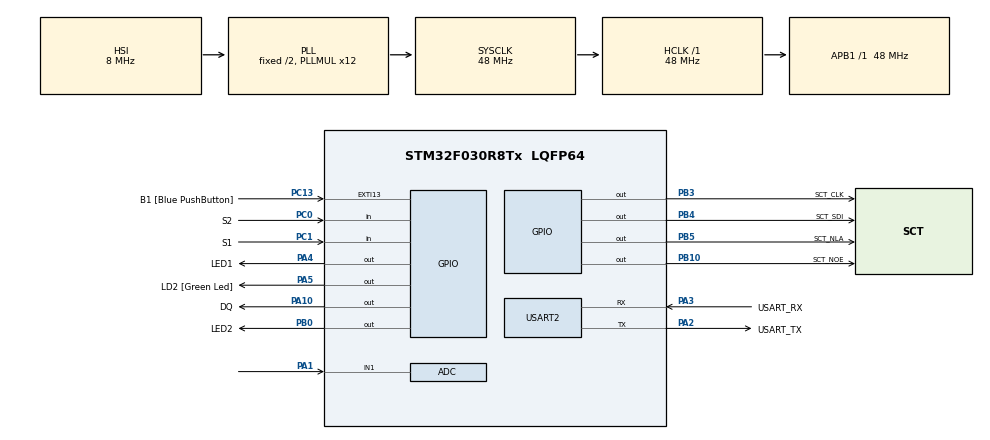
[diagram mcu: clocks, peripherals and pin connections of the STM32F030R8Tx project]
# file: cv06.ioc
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ADC.ContinuousConvMode=ENABLE
ADC.Overrun=ADC_OVR_DATA_OVERWRITTEN
ADC.Resolution=ADC_RESOLUTION_10B
ADC.SamplingTime=ADC_SAMPLETIME_239CYCLES_5
Mcu.Family=STM32F0
Mcu.Name=STM32F030R8Tx
Mcu.Package=LQFP64
PA1.Mode=IN1
PA1.Signal=ADC_IN1
PA10.GPIO_Label=DQ
PA10.GPIO_ModeDefaultOutputPP=GPIO_MODE_OUTPUT_OD
PA10.PinState=GPIO_PIN_SET
PA10.Signal=GPIO_Output
PA13.GPIO_Label=TMS
PA13.Mode=Serial_Wire
PA13.Signal=SYS_SWDIO
PA14.GPIO_Label=TCK
PA14.Mode=Serial_Wire
PA14.Signal=SYS_SWCLK
PA2.GPIO_Label=USART_TX
PA2.GPIO_Mode=GPIO_MODE_AF_PP
PA2.GPIO_PuPd=GPIO_NOPULL
PA2.GPIO_Speed=GPIO_SPEED_FREQ_LOW
PA2.Mode=Asynchronous
PA2.Signal=USART2_TX
PA3.GPIO_Label=USART_RX
PA3.GPIO_Mode=GPIO_MODE_AF_PP
PA3.GPIO_PuPd=GPIO_NOPULL
PA3.GPIO_Speed=GPIO_SPEED_FREQ_LOW
PA3.Mode=Asynchronous
PA3.Signal=USART2_RX
PA4.GPIO_Label=LED1
PA4.Signal=GPIO_Output
PA5.GPIO_Label=LD2 [Green Led]
PA5.GPIO_Mode=GPIO_MODE_OUTPUT_PP
PA5.GPIO_PuPd=GPIO_NOPULL
PA5.GPIO_Speed=GPIO_SPEED_FREQ_LOW
PA5.Signal=GPIO_Output
PB0.GPIO_Label=LED2
PB0.Signal=GPIO_Output
PB10.GPIO_Label=SCT_NOE
PB10.Signal=GPIO_Output
PB3.GPIO_Label=SCT_CLK
PB3.Signal=GPIO_Output
PB4.GPIO_Label=SCT_SDI
PB4.Signal=GPIO_Output
PB5.GPIO_Label=SCT_NLA
PB5.Signal=GPIO_Output
PC0.GPIO_Label=S2
PC0.Signal=GPIO_Input
PC1.GPIO_Label=S1
PC1.Signal=GPIO_Input
PC13.GPIO_Label=B1 [Blue PushButton]
PC13.GPIO_ModeDefaultEXTI=GPIO_MODE_IT_FALLING
PC13.Signal=GPXTI13
PC14-OSC32_IN.Mode=LSE-External-Oscillator
PC14-OSC32_IN.Signal=RCC_OSC32_IN
PC15-OSC32_OUT.Mode=LSE-External-Oscillator
PC15-OSC32_OUT.Signal=RCC_OSC32_OUT
PF0-OSC_IN.Mode=HSE-External-Clock-Source
PF0-OSC_IN.Signal=RCC_OSC_IN
PF1-OSC_OUT.Signal=RCC_OSC_OUT
ProjectManager.HeapSize=0x200
ProjectManager.StackSize=0x400
ProjectManager.TargetToolchain=STM32CubeIDE
RCC.AHBFreq_Value=48000000
RCC.APB1Freq_Value=48000000
RCC.APB1TimFreq_Value=48000000
RCC.HCLKFreq_Value=48000000
RCC.PLLMUL=RCC_PLL_MUL12
RCC.SYSCLKFreq_VALUE=48000000
RCC.SYSCLKSource=RCC_SYSCLKSOURCE_PLLCLK
USART2.VirtualMode-Asynchronous=VM_ASYNC
board=NUCLEO-F030R8

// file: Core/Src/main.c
/* USER CODE BEGIN Header */
/**
  ******************************************************************************
  * @file           : main.c
  * @brief          : Main program body
  ******************************************************************************
  * @attention
  *
  * <h2><center>&copy; Copyright (c) 2020 STMicroelectronics.
  * All rights reserved.</center></h2>
  *
  * This software component is licensed by ST under BSD 3-Clause license,
  * the "License"; You may not use this file except in compliance with the
  * License. You may obtain a copy of the License at:
  *                        opensource.org/licenses/BSD-3-Clause
  *
  ******************************************************************************
  */
/* USER CODE END Header */
#include "main.h"

/* USER CODE BEGIN Includes */
#include "sct.h"
#include "1wire.h"
/* USER CODE END Includes */

/* USER CODE BEGIN PD */
#define ACT_DELAY 750
#define READ_BUTTONS 40
/* USER CODE END PD */

ADC_HandleTypeDef hadc;

UART_HandleTypeDef huart2;

/* USER CODE BEGIN PV */
int16_t temp_ds;
static const int16_t ntc_lookup[] = { 1689, 1669, 1649, 1630, 1611, 1593, 1575,
		1557, 1540, 1523, 1507, 1491, 1475, 1459, 1444, 1429, 1415, 1401, 1387,
		1373, 1360, 1347, 1334, 1321, 1309, 1297, 1285, 1274, 1262, 1251, 1240,
		1230, 1219, 1209, 1199, 1189, 1180, 1170, 1161, 1152, 1143, 1135, 1126,
		1118, 1110, 1102, 1094, 1086, 1078, 1071, 1064, 1057, 1050, 1043, 1036,
		1030, 1023, 1017, 1010, 1004, 998, 992, 987, 981, 975, 970, 964, 959,
		954, 949, 944, 939, 934, 929, 924, 920, 915, 911, 906, 902, 898, 894,
		889, 885, 881, 877, 873, 869, 866, 862, 858, 855, 851, 847, 844, 840,
		837, 834, 830, 827, 824, 820, 817, 814, 811, 808, 805, 802, 799, 796,
		793, 790, 787, 784, 782, 779, 776, 773, 771, 768, 765, 763, 760, 757,
		755, 752, 750, 747, 745, 742, 740, 737, 735, 733, 730, 728, 726, 723,
		721, 719, 716, 714, 712, 709, 707, 705, 703, 701, 698, 696, 694, 692,
		690, 688, 685, 683, 681, 679, 677, 675, 673, 671, 669, 667, 665, 663,
		661, 659, 657, 655, 653, 651, 649, 647, 645, 643, 641, 639, 637, 635,
		634, 632, 630, 628, 626, 624, 622, 621, 619, 617, 615, 613, 612, 610,
		608, 606, 604, 603, 601, 599, 597, 596, 594, 592, 591, 589, 587, 585,
		584, 582, 580, 579, 577, 576, 574, 572, 571, 569, 567, 566, 564, 563,
		561, 559, 558, 556, 555, 553, 552, 550, 549, 547, 546, 544, 543, 541,
		540, 538, 537, 535, 534, 532, 531, 529, 528, 526, 525, 524, 522, 521,
		519, 518, 517, 515, 514, 513, 511, 510, 508, 507, 506, 504, 503, 502,
		500, 499, 498, 497, 495, 494, 493, 491, 490, 489, 488, 486, 485, 484,
		483, 481, 480, 479, 478, 476, 475, 474, 473, 472, 470, 469, 468, 467,
		466, 464, 463, 462, 461, 460, 459, 457, 456, 455, 454, 453, 452, 451,
		449, 448, 447, 446, 445, 444, 443, 442, 441, 439, 438, 437, 436, 435,
		434, 433, 432, 431, 430, 429, 428, 427, 425, 424, 423, 422, 421, 420,
		419, 418, 417, 416, 415, 414, 413, 412, 411, 410, 409, 408, 407, 406,
		405, 404, 403, 402, 401, 400, 399, 398, 397, 396, 395, 394, 393, 392,
		391, 390, 389, 388, 387, 386, 385, 384, 383, 382, 381, 380, 379, 378,
		377, 376, 375, 374, 373, 372, 371, 370, 369, 368, 367, 366, 365, 364,
		363, 362, 361, 360, 359, 358, 357, 356, 355, 354, 353, 352, 351, 350,
		349, 348, 347, 346, 346, 345, 344, 343, 342, 341, 340, 339, 338, 337,
		336, 335, 334, 333, 332, 331, 330, 329, 328, 327, 326, 325, 324, 323,
		322, 321, 321, 320, 319, 318, 317, 316, 315, 314, 313, 312, 311, 310,
		309, 308, 307, 306, 305, 304, 303, 302, 302, 301, 300, 299, 298, 297,
		296, 295, 294, 293, 292, 291, 290, 289, 288, 287, 286, 286, 285, 284,
		283, 282, 281, 280, 279, 278, 277, 276, 275, 274, 274, 273, 272, 271,
		270, 269, 268, 267, 266, 265, 264, 263, 263, 262, 261, 260, 259, 258,
		257, 256, 255, 254, 254, 253, 252, 251, 250, 249, 248, 247, 246, 246,
		245, 244, 243, 242, 241, 240, 239, 238, 238, 237, 236, 235, 234, 233,
		232, 232, 231, 230, 229, 228, 227, 226, 225, 225, 224, 223, 222, 221,
		220, 219, 219, 218, 217, 216, 215, 214, 214, 213, 212, 211, 210, 209,
		208, 208, 207, 206, 205, 204, 203, 203, 202, 201, 200, 199, 198, 198,
		197, 196, 195, 194, 194, 193, 192, 191, 190, 189, 189, 188, 187, 186,
		185, 184, 184, 183, 182, 181, 180, 180, 179, 178, 177, 176, 175, 175,
		174, 173, 172, 171, 171, 170, 169, 168, 167, 166, 166, 165, 164, 163,
		162, 162, 161, 160, 159, 158, 157, 157, 156, 155, 154, 153, 152, 152,
		151, 150, 149, 148, 148, 147, 146, 145, 144, 143, 143, 142, 141, 140,
		139, 138, 137, 137, 136, 135, 134, 133, 132, 132, 131, 130, 129, 128,
		127, 126, 126, 125, 124, 123, 122, 121, 120, 120, 119, 118, 117, 116,
		115, 114, 113, 113, 112, 111, 110, 109, 108, 107, 106, 105, 105, 104,
		103, 102, 101, 100, 99, 98, 97, 96, 95, 95, 94, 93, 92, 91, 90, 89, 88,
		87, 86, 85, 84, 83, 83, 82, 81, 80, 79, 78, 77, 76, 75, 74, 73, 72, 71,
		70, 69, 68, 67, 66, 65, 64, 63, 62, 61, 60, 60, 59, 58, 57, 56, 55, 54,
		53, 52, 51, 50, 49, 48, 47, 46, 45, 44, 43, 42, 41, 40, 39, 38, 37, 36,
		35, 34, 33, 32, 31, 29, 28, 27, 26, 25, 24, 23, 22, 21, 20, 19, 18, 17,
		16, 15, 14, 13, 12, 11, 10, 9, 8, 7, 6, 5, 4, 2, 1, 0, -1, -2, -3, -4,
		-5, -6, -7, -8, -9, -10, -11, -12, -14, -15, -16, -17, -18, -19, -20,
		-21, -22, -23, -24, -25, -27, -28, -29, -30, -31, -32, -33, -34, -35,
		-37, -38, -39, -40, -41, -42, -43, -44, -46, -47, -48, -49, -50, -51,
		-52, -54, -55, -56, -57, -58, -60, -61, -62, -63, -64, -65, -67, -68,
		-69, -70, -72, -73, -74, -75, -76, -78, -79, -80, -82, -83, -84, -85,
		-87, -88, -89, -91, -92, -93, -95, -96, -97, -99, -100, -101, -103,
		-104, -105, -107, -108, -110, -111, -113, -114, -115, -117, -118, -120,
		-121, -123, -124, -126, -127, -129, -131, -132, -134, -135, -137, -139,
		-140, -142, -144, -145, -147, -149, -150, -152, -154, -155, -157, -159,
		-161, -163, -164, -166, -168, -170, -172, -174, -176, -178, -180, -182,
		-184, -186, -188, -190, -192, -194, -196, -198, -200, -202, -204, -206,
		-209, -211, -213, -215, -217, -220, -222, -224, -227, -229, -231, -234,
		-236, -238, -241, -243, -246, -248, -251, -253, -256, -258, -261, -263,
		-266, -269, -271, -274, -276, -279, -282, -284, -287, -290, -293, -295,
		-298, -301, -304, -306, -309, -312, -315, -318, -321, -323, -326, -329,
		-332, -335, -338, -341, -344, -346, -349, -352, -355, -358, -361, -364,
		-367, -370, -372, -375, -378, -381, -384, -387, -389, -392, -395, -398,
		-401, -403, -406, -409, -411, -414, -416, -419, -422, -424, -427, -429,
		-431, -434, -436 };
/* USER CODE END PV */

void SystemClock_Config(void);
static void MX_GPIO_Init(void);
static void MX_USART2_UART_Init(void);
static void MX_ADC_Init(void);

int main(void)
{

  /* MCU Configuration--------------------------------------------------------*/

  /* Reset of all peripherals, Initializes the Flash interface and the Systick. */
  HAL_Init();

  /* Configure the system clock */
  SystemClock_Config();

  /* Initialize all configured peripherals */
  MX_GPIO_Init();
  MX_USART2_UART_Init();
  MX_ADC_Init();
  /* USER CODE BEGIN 2 */

  sct_init();
  OWInit();

  HAL_ADCEx_Calibration_Start(&hadc);
  HAL_ADC_Start(&hadc);
  /* USER CODE END 2 */

  /* Infinite loop */
  while (1)
  {

	  /* USER CODE BEGIN 3 */
/*
	  OWConvertAll();
	  HAL_Delay(CONVERT_T_DELAY);

	  int16_t temp_18b20;
	  OWReadTemperature(&temp_18b20);

	  sct_value(temp_18b20 / 10);
*/
/*	  sct_value(ntc_lookup[HAL_ADC_GetValue(&hadc)]);
	  HAL_Delay(500);
*/

	    static enum {READ_DS18B20, SHOW_DS18B20, SHOW_NTC} state = SHOW_NTC; // READ_DS18B20 default state
	    static uint32_t delay_butt;
	    static uint32_t delay_conv;
	    static uint8_t butt = 0; // do nothing

	    if (state == READ_DS18B20){
	  	  OWConvertAll();
	  //	  HAL_Delay(CONVERT_T_DELAY);

	  	  int16_t temp_18b20;
	  	  OWReadTemperature(&temp_18b20);
	  	  temp_ds = temp_18b20 / 10;

	  	  delay_conv = HAL_GetTick();
	    }
	    else if (state == SHOW_DS18B20){
	  	  sct_value(temp_ds);
	     }
	    else if (state == SHOW_NTC){
	  	  sct_value(ntc_lookup[HAL_ADC_GetValue(&hadc)]);
	  //	  HAL_Delay(500);
	    }

	    if (HAL_GPIO_ReadPin(S2_GPIO_Port, S2_Pin) == 0){ // S2
	   		  state = SHOW_NTC;
	   		  HAL_GPIO_WritePin(LED1_GPIO_Port, LED1_Pin, GPIO_PIN_SET);
	   	 	  butt = 2;
	   		  delay_butt = HAL_GetTick();
	   	  }

	    if (HAL_GPIO_ReadPin(S1_GPIO_Port, S1_Pin) == 0){ // S1
	  		  state = SHOW_DS18B20;
	  		  HAL_GPIO_WritePin(LED2_GPIO_Port, LED2_Pin, GPIO_PIN_SET);
	  		  butt = 1;
	  		  delay_butt = HAL_GetTick();
	  	  }

	    if (HAL_GetTick() > delay_butt + READ_BUTTONS){
	  	  if (butt == 1){
	  		  state = SHOW_DS18B20;
	  	  }
	  	  else if (butt == 2){
	  		  state = SHOW_NTC;
	  	  }
	  	  else if (butt == 0){
	  	  	  }
	    }

	    if (HAL_GetTick() > delay_conv + ACT_DELAY){
	  		  state = READ_DS18B20;
	    }
  }
  /* USER CODE END 3 */
}

void SystemClock_Config(void)
{
  RCC_OscInitTypeDef RCC_OscInitStruct = {0};
  RCC_ClkInitTypeDef RCC_ClkInitStruct = {0};

  /** Initializes the RCC Oscillators according to the specified parameters
  * in the RCC_OscInitTypeDef structure.
  */
  RCC_OscInitStruct.OscillatorType = RCC_OSCILLATORTYPE_HSI|RCC_OSCILLATORTYPE_HSI14;
  RCC_OscInitStruct.HSIState = RCC_HSI_ON;
  RCC_OscInitStruct.HSI14State = RCC_HSI14_ON;
  RCC_OscInitStruct.HSICalibrationValue = RCC_HSICALIBRATION_DEFAULT;
  RCC_OscInitStruct.HSI14CalibrationValue = 16;
  RCC_OscInitStruct.PLL.PLLState = RCC_PLL_ON;
  RCC_OscInitStruct.PLL.PLLSource = RCC_PLLSOURCE_HSI;
  RCC_OscInitStruct.PLL.PLLMUL = RCC_PLL_MUL12;
  RCC_OscInitStruct.PLL.PREDIV = RCC_PREDIV_DIV1;
  if (HAL_RCC_OscConfig(&RCC_OscInitStruct) != HAL_OK)
  {
    Error_Handler();
  }
  /** Initializes the CPU, AHB and APB buses clocks
  */
  RCC_ClkInitStruct.ClockType = RCC_CLOCKTYPE_HCLK|RCC_CLOCKTYPE_SYSCLK
                              |RCC_CLOCKTYPE_PCLK1;
  RCC_ClkInitStruct.SYSCLKSource = RCC_SYSCLKSOURCE_PLLCLK;
  RCC_ClkInitStruct.AHBCLKDivider = RCC_SYSCLK_DIV1;
  RCC_ClkInitStruct.APB1CLKDivider = RCC_HCLK_DIV1;

  if (HAL_RCC_ClockConfig(&RCC_ClkInitStruct, FLASH_LATENCY_1) != HAL_OK)
  {
    Error_Handler();
  }
}

static void MX_ADC_Init(void)
{

  ADC_ChannelConfTypeDef sConfig = {0};

  /** Configure the global features of the ADC (Clock, Resolution, Data Alignment and number of conversion)
  */
  hadc.Instance = ADC1;
  hadc.Init.ClockPrescaler = ADC_CLOCK_ASYNC_DIV1;
  hadc.Init.Resolution = ADC_RESOLUTION_10B;
  hadc.Init.DataAlign = ADC_DATAALIGN_RIGHT;
  hadc.Init.ScanConvMode = ADC_SCAN_DIRECTION_FORWARD;
  hadc.Init.EOCSelection = ADC_EOC_SINGLE_CONV;
  hadc.Init.LowPowerAutoWait = DISABLE;
  hadc.Init.LowPowerAutoPowerOff = DISABLE;
  hadc.Init.ContinuousConvMode = ENABLE;
  hadc.Init.DiscontinuousConvMode = DISABLE;
  hadc.Init.ExternalTrigConv = ADC_SOFTWARE_START;
  hadc.Init.ExternalTrigConvEdge = ADC_EXTERNALTRIGCONVEDGE_NONE;
  hadc.Init.DMAContinuousRequests = DISABLE;
  hadc.Init.Overrun = ADC_OVR_DATA_OVERWRITTEN;
  if (HAL_ADC_Init(&hadc) != HAL_OK)
  {
    Error_Handler();
  }
  /** Configure for the selected ADC regular channel to be converted.
  */
  sConfig.Channel = ADC_CHANNEL_1;
  sConfig.Rank = ADC_RANK_CHANNEL_NUMBER;
  sConfig.SamplingTime = ADC_SAMPLETIME_239CYCLES_5;
  if (HAL_ADC_ConfigChannel(&hadc, &sConfig) != HAL_OK)
  {
    Error_Handler();
  }

}

static void MX_USART2_UART_Init(void)
{

  huart2.Instance = USART2;
  huart2.Init.BaudRate = 38400;
  huart2.Init.WordLength = UART_WORDLENGTH_8B;
  huart2.Init.StopBits = UART_STOPBITS_1;
  huart2.Init.Parity = UART_PARITY_NONE;
  huart2.Init.Mode = UART_MODE_TX_RX;
  huart2.Init.HwFlowCtl = UART_HWCONTROL_NONE;
  huart2.Init.OverSampling = UART_OVERSAMPLING_16;
  huart2.Init.OneBitSampling = UART_ONE_BIT_SAMPLE_DISABLE;
  huart2.AdvancedInit.AdvFeatureInit = UART_ADVFEATURE_NO_INIT;
  if (HAL_UART_Init(&huart2) != HAL_OK)
  {
    Error_Handler();
  }

}

static void MX_GPIO_Init(void)
{
  GPIO_InitTypeDef GPIO_InitStruct = {0};

  /* GPIO Ports Clock Enable */
  __HAL_RCC_GPIOC_CLK_ENABLE();
  __HAL_RCC_GPIOF_CLK_ENABLE();
  __HAL_RCC_GPIOA_CLK_ENABLE();
  __HAL_RCC_GPIOB_CLK_ENABLE();

  /*Configure GPIO pin Output Level */
  HAL_GPIO_WritePin(GPIOA, LED1_Pin|LD2_Pin, GPIO_PIN_RESET);

  /*Configure GPIO pin Output Level */
  HAL_GPIO_WritePin(GPIOB, LED2_Pin|SCT_NOE_Pin|SCT_CLK_Pin|SCT_SDI_Pin
                          |SCT_NLA_Pin, GPIO_PIN_RESET);

  /*Configure GPIO pin Output Level */
  HAL_GPIO_WritePin(DQ_GPIO_Port, DQ_Pin, GPIO_PIN_SET);

  /*Configure GPIO pin : B1_Pin */
  GPIO_InitStruct.Pin = B1_Pin;
  GPIO_InitStruct.Mode = GPIO_MODE_IT_FALLING;
  GPIO_InitStruct.Pull = GPIO_NOPULL;
  HAL_GPIO_Init(B1_GPIO_Port, &GPIO_InitStruct);

  /*Configure GPIO pins : S2_Pin S1_Pin */
  GPIO_InitStruct.Pin = S2_Pin|S1_Pin;
  GPIO_InitStruct.Mode = GPIO_MODE_INPUT;
  GPIO_InitStruct.Pull = GPIO_NOPULL;
  HAL_GPIO_Init(GPIOC, &GPIO_InitStruct);

  /*Configure GPIO pins : LED1_Pin LD2_Pin */
  GPIO_InitStruct.Pin = LED1_Pin|LD2_Pin;
  GPIO_InitStruct.Mode = GPIO_MODE_OUTPUT_PP;
  GPIO_InitStruct.Pull = GPIO_NOPULL;
  GPIO_InitStruct.Speed = GPIO_SPEED_FREQ_LOW;
  HAL_GPIO_Init(GPIOA, &GPIO_InitStruct);

  /*Configure GPIO pins : LED2_Pin SCT_NOE_Pin SCT_CLK_Pin SCT_SDI_Pin
                           SCT_NLA_Pin */
  GPIO_InitStruct.Pin = LED2_Pin|SCT_NOE_Pin|SCT_CLK_Pin|SCT_SDI_Pin
                          |SCT_NLA_Pin;
  GPIO_InitStruct.Mode = GPIO_MODE_OUTPUT_PP;
  GPIO_InitStruct.Pull = GPIO_NOPULL;
  GPIO_InitStruct.Speed = GPIO_SPEED_FREQ_LOW;
  HAL_GPIO_Init(GPIOB, &GPIO_InitStruct);

  /*Configure GPIO pin : DQ_Pin */
  GPIO_InitStruct.Pin = DQ_Pin;
  GPIO_InitStruct.Mode = GPIO_MODE_OUTPUT_OD;
  GPIO_InitStruct.Pull = GPIO_NOPULL;
  GPIO_InitStruct.Speed = GPIO_SPEED_FREQ_LOW;
  HAL_GPIO_Init(DQ_GPIO_Port, &GPIO_InitStruct);

}

void Error_Handler(void)
{
}

/************************ (C) COPYRIGHT STMicroelectronics *****END OF FILE****/
